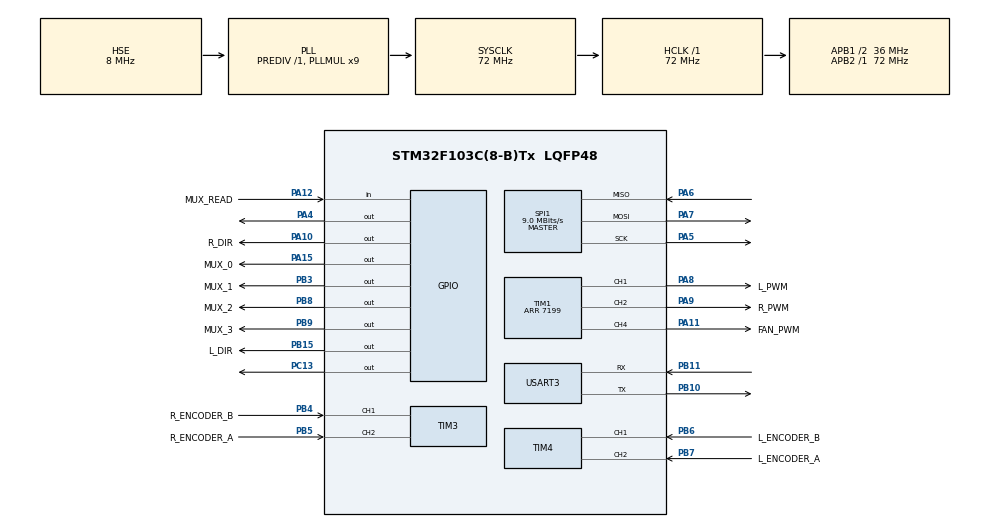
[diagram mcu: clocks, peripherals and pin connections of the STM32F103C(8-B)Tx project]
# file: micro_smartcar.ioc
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Dma.Request0=SPI1_RX
Dma.Request1=SPI1_TX
Dma.SPI1_RX.0.Direction=DMA_PERIPH_TO_MEMORY
Dma.SPI1_RX.0.Instance=DMA1_Channel2
Dma.SPI1_RX.0.MemDataAlignment=DMA_MDATAALIGN_BYTE
Dma.SPI1_RX.0.MemInc=DMA_MINC_ENABLE
Dma.SPI1_RX.0.Mode=DMA_NORMAL
Dma.SPI1_RX.0.PeriphDataAlignment=DMA_PDATAALIGN_BYTE
Dma.SPI1_RX.0.PeriphInc=DMA_PINC_DISABLE
Dma.SPI1_RX.0.Priority=DMA_PRIORITY_LOW
Dma.SPI1_TX.1.Direction=DMA_MEMORY_TO_PERIPH
Dma.SPI1_TX.1.Instance=DMA1_Channel3
Dma.SPI1_TX.1.MemDataAlignment=DMA_MDATAALIGN_BYTE
Dma.SPI1_TX.1.MemInc=DMA_MINC_ENABLE
Dma.SPI1_TX.1.Mode=DMA_NORMAL
Dma.SPI1_TX.1.PeriphDataAlignment=DMA_PDATAALIGN_BYTE
Dma.SPI1_TX.1.PeriphInc=DMA_PINC_DISABLE
Dma.SPI1_TX.1.Priority=DMA_PRIORITY_LOW
Mcu.Family=STM32F1
Mcu.Name=STM32F103C(8-B)Tx
Mcu.Package=LQFP48
NVIC.DMA1_Channel2_IRQn=true\:0\:0\:false\:false\:true\:false\:true\:true
NVIC.DMA1_Channel3_IRQn=true\:0\:0\:false\:false\:true\:false\:true\:true
NVIC.PriorityGroup=NVIC_PRIORITYGROUP_4
NVIC.RCC_IRQn=true\:0\:0\:false\:false\:true\:true\:false\:true
NVIC.SPI1_IRQn=true\:0\:0\:false\:false\:true\:true\:true\:true
NVIC.TIM2_IRQn=true\:1\:0\:true\:false\:true\:true\:true\:true
NVIC.TIM3_IRQn=true\:0\:0\:false\:false\:true\:true\:true\:true
NVIC.TIM4_IRQn=true\:0\:0\:false\:false\:true\:true\:true\:true
NVIC.USART3_IRQn=true\:0\:0\:false\:false\:true\:true\:true\:true
PA10.GPIO_Label=R_DIR
PA10.Signal=GPIO_Output
PA11.GPIO_Label=FAN_PWM
PA11.Signal=S_TIM1_CH4
PA12.GPIO_Label=MUX_READ
PA12.Signal=GPIO_Input
PA13.Mode=Serial_Wire
PA13.Signal=SYS_JTMS-SWDIO
PA14.Mode=Serial_Wire
PA14.Signal=SYS_JTCK-SWCLK
PA15.GPIO_Label=MUX_0
PA15.GPIO_Speed=GPIO_SPEED_FREQ_MEDIUM
PA15.Signal=GPIO_Output
PA4.GPIO_PuPd=GPIO_NOPULL
PA4.GPIO_Speed=GPIO_SPEED_FREQ_HIGH
PA4.Signal=GPIO_Output
PA5.Mode=Full_Duplex_Master
PA5.Signal=SPI1_SCK
PA6.Mode=Full_Duplex_Master
PA6.Signal=SPI1_MISO
PA7.Mode=Full_Duplex_Master
PA7.Signal=SPI1_MOSI
PA8.GPIO_Label=L_PWM
PA8.Signal=S_TIM1_CH1
PA9.GPIO_Label=R_PWM
PA9.Signal=S_TIM1_CH2
PB10.Mode=Asynchronous
PB10.Signal=USART3_TX
PB11.Mode=Asynchronous
PB11.Signal=USART3_RX
PB15.GPIO_Label=L_DIR
PB15.Signal=GPIO_Output
PB3.GPIO_Label=MUX_1
PB3.GPIO_Speed=GPIO_SPEED_FREQ_MEDIUM
PB3.Signal=GPIO_Output
PB4.GPIO_Label=R_ENCODER_B
PB4.Signal=S_TIM3_CH1
PB5.GPIO_Label=R_ENCODER_A
PB5.Signal=S_TIM3_CH2
PB6.GPIO_Label=L_ENCODER_B
PB6.Signal=S_TIM4_CH1
PB7.GPIO_Label=L_ENCODER_A
PB7.Signal=S_TIM4_CH2
PB8.GPIO_Label=MUX_2
PB8.GPIO_Speed=GPIO_SPEED_FREQ_MEDIUM
PB8.Signal=GPIO_Output
PB9.GPIO_Label=MUX_3
PB9.GPIO_Speed=GPIO_SPEED_FREQ_MEDIUM
PB9.Signal=GPIO_Output
PC13-TAMPER-RTC.GPIO_ModeDefaultOutputPP=GPIO_MODE_OUTPUT_OD
PC13-TAMPER-RTC.GPIO_PuPd=GPIO_NOPULL
PC13-TAMPER-RTC.Signal=GPIO_Output
PD0-OSC_IN.Mode=HSE-External-Oscillator
PD0-OSC_IN.Signal=RCC_OSC_IN
PD1-OSC_OUT.Mode=HSE-External-Oscillator
PD1-OSC_OUT.Signal=RCC_OSC_OUT
ProjectManager.HeapSize=0x200
ProjectManager.StackSize=0x400
ProjectManager.TargetToolchain=MDK-ARM V5.32
RCC.AHBFreq_Value=72000000
RCC.APB1CLKDivider=RCC_HCLK_DIV2
RCC.APB1Freq_Value=36000000
RCC.APB1TimFreq_Value=72000000
RCC.APB2Freq_Value=72000000
RCC.APB2TimFreq_Value=72000000
RCC.HCLKFreq_Value=72000000
RCC.PLLMUL=RCC_PLL_MUL9
RCC.PLLSourceVirtual=RCC_PLLSOURCE_HSE
RCC.SYSCLKFreq_VALUE=72000000
RCC.SYSCLKSource=RCC_SYSCLKSOURCE_PLLCLK
RCC.USBFreq_Value=72000000
SH.S_TIM1_CH1.0=TIM1_CH1,PWM Generation1 CH1
SH.S_TIM1_CH2.0=TIM1_CH2,PWM Generation2 CH2
SH.S_TIM1_CH4.0=TIM1_CH4,PWM Generation4 CH4
SH.S_TIM3_CH1.0=TIM3_CH1,Encoder_Interface
SH.S_TIM3_CH2.0=TIM3_CH2,Encoder_Interface
SH.S_TIM4_CH1.0=TIM4_CH1,Encoder_Interface
SH.S_TIM4_CH2.0=TIM4_CH2,Encoder_Interface
SPI1.BaudRatePrescaler=SPI_BAUDRATEPRESCALER_8
SPI1.CalculateBaudRate=9.0 MBits/s
SPI1.Direction=SPI_DIRECTION_2LINES
SPI1.Mode=SPI_MODE_MASTER
SPI1.VirtualType=VM_MASTER
TIM1.Channel-PWM\ Generation1\ CH1=TIM_CHANNEL_1
TIM1.Channel-PWM\ Generation2\ CH2=TIM_CHANNEL_2
TIM1.Channel-PWM\ Generation4\ CH4=TIM_CHANNEL_4
TIM1.Period=7199
TIM2.Period=999
TIM2.Prescaler=71
TIM3.EncoderMode=TIM_ENCODERMODE_TI12
TIM4.EncoderMode=TIM_ENCODERMODE_TI12
USART3.VirtualMode=VM_ASYNC
VP_TIM1_VS_ClockSourceINT.Mode=Internal
VP_TIM2_VS_ClockSourceINT.Mode=Internal
board=custom

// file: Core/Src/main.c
/* USER CODE END PTD */

/* USER CODE BEGIN PD */
#define MOTOR_PWM_MAX 1800  /* PWM最大值*/
#define TARGET_SPEED 1900    /* 基础目标速度*/

/* USER CODE END PD */

SPI_HandleTypeDef hspi1;
DMA_HandleTypeDef hdma_spi1_rx;
DMA_HandleTypeDef hdma_spi1_tx;

TIM_HandleTypeDef htim1;
TIM_HandleTypeDef htim2;
TIM_HandleTypeDef htim3;
TIM_HandleTypeDef htim4;

UART_HandleTypeDef huart3;

/* USER CODE BEGIN PV */
/* PID参数 */
float KP_turn = 90.0f;      /* 转向环比例系数*/
float KD_turn = -60.0f;       /* 转向环微分系数*/
float KP_speed = 30.0f;      /* 速度环比例系数  */
float KI_speed = 0.3f;     /* 速度环积分系数*/

/* 角速度环参数 */
float KP_gyro = 8.0f;       /* 角速度环比例系数*/
float KD_gyro = 0.08f;       /* 角速度环微分系数*/
float target_gyro_rate = 0.0f; /* 目标角速度*/
float last_gyro_error = 0.0f;  /* 上一次角速度误差*/

/* 全局变量 */
int32_t left_encoder = 0;  /* 左编码器值*/
int32_t right_encoder = 0; /* 右编码器值*/
int32_t last_left_encoder = 0;
int32_t last_right_encoder = 0;
float left_speed = 0;      /* 左电机实际速度*/
float right_speed = 0;     /* 右电机实际速度*/
float last_deviation = 0;  /* 上一次偏差*/
float left_integral = 0;   /* 左电机速度积分*/
float right_integral = 0;  /* 右电机速度积分*/
float left_pwm = 0;
float right_pwm = 0;

/* 新增变量 */
float last_left_speed = 0;     /* 左电机上一次速度（用于滤波）*/
float last_right_speed = 0;    /* 右电机上一次速度（用于滤波）*/
uint32_t last_speed_time = 0;  /* 上一次速度计算时间*/

/* 光电管权值定义 */
int phototube_weights[12] = {11, 9, 7, 5, 3, 1, -1, -3, -5, -7, -9, -11};

float gyro_x, gyro_y, gyro_z, accel_x, accel_y, accel_z; /*陀螺仪数据*/
float integrated_angle = 0.0f; /* 积分角度*/
float last_gyro_z = 0.0f;     /* 上一次陀螺仪Z轴数据*/
uint32_t last_gyro_time = 0;  /* 上一次陀螺仪采样时间*/

/* USER CODE END PV */

void SystemClock_Config(void);
static void MX_GPIO_Init(void);
static void MX_DMA_Init(void);
static void MX_SPI1_Init(void);
static void MX_TIM1_Init(void);
static void MX_TIM2_Init(void);
static void MX_TIM3_Init(void);
static void MX_USART3_UART_Init(void);
static void MX_TIM4_Init(void);
/* USER CODE BEGIN PFP */
float Calculate_Deviation(void);
void Motor_Control(float left_pwm, float right_pwm);
void PID_Control(void);
void Control_Init(void);
void Update_Gyro_Data(void);
float Gyro_Rate_Control(float target_rate, float current_rate); /* 新增角速度环控制函数*/
/* USER CODE END PFP */

/* USER CODE BEGIN 0 */
int fputc(int ch, FILE *f)
{
  HAL_UART_Transmit(&huart3, (uint8_t *)&ch, 1, 0xffff);
  return ch;
}

/* 更新陀螺仪数据并积分 */
void Update_Gyro_Data(void)
{
  dodo_BMI270_get_data(); /*获取陀螺仪数据*/

  /* 转换陀螺仪数据*/
  gyro_z = BMI270_gyro_transition(BMI270_gyro_z); /*角速度*/

  /* 角速度积分得到角度*/
  uint32_t current_time = HAL_GetTick();
  if(last_gyro_time > 0) {
      float dt = (current_time - last_gyro_time) / 1000.0f; /* 转换为秒*/
      integrated_angle += gyro_z * dt;

      /* 角度限制在180度范围内*/
      if(integrated_angle > 180.0f) integrated_angle = 180.0f;
      if(integrated_angle < -180.0f) integrated_angle = -180.0f;
  }
  last_gyro_time = current_time;
  last_gyro_z = gyro_z;
}

/* 预测偏差函数 - 基于历史数据 */
float Predict_Deviation(float history[], int size)
{
    float sum = 0;
    int valid_count = 0;
    int i;

    /* 计算有效历史数据的平均值*/
    for(i = 0; i < size; i++) {
        if(history[i] != 0) {
            sum += history[i];
            valid_count++;
        }
    }

    if(valid_count > 0) {
        return sum / valid_count;
    } else {
        return 0.0f;
    }
}

/* 计算偏差趋势函数 */
float Calculate_Deviation_Trend(float history[], int size)
{
    if(size < 2) return 0;

    float sum = 0;
    int count = 0;
    int i;

    /* 计算相邻点的变化趋势*/
    for(i = 1; i < size; i++) {
        if(history[i] != 0 && history[i-1] != 0) {
            sum += (history[i] - history[i-1]);
            count++;
        }
    }

    if(count > 0) {
        return sum / count;
    } else {
        return 0;
    }
}

/* 计算光电管偏差值 - 增强虚线处理逻辑 */
float Calculate_Deviation(void)
{
    uint16_t mux_value;
    MUX_get_value(&mux_value);

    float deviation = 0;
    int count = 0;
    int left_count = 0;
    int right_count = 0;
    int i;

    /* 检查所有光电管状态*/
    for(i = 0; i < 12; i++) {
        if(MUX_GET_CHANNEL(mux_value, i)) {
            deviation += phototube_weights[i];
            count++;

            /* 统计左右侧检测到的数量*/
            if(i < 6) left_count++;
            else right_count++;
        }
    }

    /* 根据不同情况处理偏差*/
    if(count > 0) {
        /* 正常情况：计算加权平均偏差*/
        deviation = deviation / count;

        /* 普通转弯情况：如果只有单侧检测到，适当增强偏差*/
        if(left_count > 0 && right_count == 0) {
            deviation -= 1.5f; /* 向左增强*/
        } else if(right_count > 0 && left_count == 0) {
            deviation += 1.5f; /* 向右增强*/
        }
    } else {
        /* 没有检测到线的处理策略 - 简单搜索*/
        if(last_deviation > 3.0f) {
            /* 上次偏右，继续向右寻找*/
            deviation = 8.0f;
        } else if(last_deviation < -3.0f) {
            /* 上次偏左，继续向左寻找*/
            deviation = -8.0f;
        } else {
            /* 默认向右转寻找*/
            deviation = -8.0f;
        }
    }

    /* 限制偏差范围*/
    if(deviation > 11.0f) deviation = 11.0f;
    if(deviation < -11.0f) deviation = -11.0f;

    /* 调试输出*/
    static uint32_t debug_count = 0;
    if(debug_count % 50 == 0) {
        printf("Line: L:%d R:%d | Dev:%.1f\n",
               left_count, right_count, deviation);
    }
    debug_count++;

    return deviation;
}

/* 角速度环控制函数 */
float Gyro_Rate_Control(float target_rate, float current_rate)
{
    float error = target_rate - current_rate;
    float derivative = error - last_gyro_error;
    last_gyro_error = error;

    /* PD控制*/
    float output = KP_gyro * error + KD_gyro * derivative;

    return output;
}

/* 电机控制函数 */
void Motor_Control(float left_pwm, float right_pwm)
{
    /* 限制PWM范围*/
    if(left_pwm > MOTOR_PWM_MAX) left_pwm = MOTOR_PWM_MAX;
    if(left_pwm < -MOTOR_PWM_MAX) left_pwm = -MOTOR_PWM_MAX;
    if(right_pwm > MOTOR_PWM_MAX) right_pwm = MOTOR_PWM_MAX;
    if(right_pwm < -MOTOR_PWM_MAX) right_pwm = -MOTOR_PWM_MAX;

    /* 设置电机方向和PWM*/
    if(left_pwm >= 0) {
        HAL_GPIO_WritePin(L_DIR_GPIO_Port, L_DIR_Pin, GPIO_PIN_RESET); /* 正转*/
        __HAL_TIM_SET_COMPARE(&htim1, TIM_CHANNEL_1, (uint32_t)left_pwm);
    } else {
        HAL_GPIO_WritePin(L_DIR_GPIO_Port, L_DIR_Pin, GPIO_PIN_SET); /* 反转*/
        __HAL_TIM_SET_COMPARE(&htim1, TIM_CHANNEL_1, (uint32_t)(-left_pwm));
    }

    if(right_pwm >= 0) {
        HAL_GPIO_WritePin(R_DIR_GPIO_Port, R_DIR_Pin, GPIO_PIN_SET); /* 正转*/
        __HAL_TIM_SET_COMPARE(&htim1, TIM_CHANNEL_2, (uint32_t)right_pwm);
    } else {
        HAL_GPIO_WritePin(R_DIR_GPIO_Port, R_DIR_Pin, GPIO_PIN_RESET); /* 反转*/
        __HAL_TIM_SET_COMPARE(&htim1, TIM_CHANNEL_2, (uint32_t)(-right_pwm));
    }
}

/* 主PID控制函数 - 简化版：只有速度环和转向环 */
void PID_Control(void)
{
    float current_target_speed = 500.0f; /* 暂时使用固定值，实际应从Calculate_Deviation获取*/

    Update_Gyro_Data();

    /* 1. 读取编码器值计算实际速度*/
    left_encoder = __HAL_TIM_GET_COUNTER(&htim4);
    right_encoder = __HAL_TIM_GET_COUNTER(&htim3);

    /* 更新编码器记录*/
    last_left_encoder = left_encoder;
    last_right_encoder = right_encoder;

    /* 2. 转向环PD控制*/
    float current_deviation = Calculate_Deviation();
    float turn_output = KP_turn * current_deviation +
                       KD_turn * (current_deviation - last_deviation);
    last_deviation = current_deviation;

    /* 3. 角速度环控制 - 将转向环输出作为目标角速度*/
    target_gyro_rate = turn_output;
    float gyro_output = Gyro_Rate_Control(target_gyro_rate, gyro_z);

    /* 4. 计算左右电机目标速度（转向环输出直接叠加到目标速度）*/
    float left_target = current_target_speed - gyro_output;
    float right_target = current_target_speed + gyro_output;

    /* 5. 速度环PI控制*/
    float left_error = left_target - left_speed;
    float right_error = right_target - right_speed;

    /* 积分项*/
    left_integral += left_error;
    right_integral += right_error;

    /* 积分限幅*/
    if(left_integral > 1000)   left_integral = 1000;
    if(left_integral < -1000)  left_integral = -1000;
    if(right_integral > 1000)  right_integral = 1000;
    if(right_integral < -1000) right_integral = -1000;

    /* 计算最终PWM输出*/
    left_pwm = KP_speed * left_error + KI_speed * left_integral;
    right_pwm = KP_speed * right_error + KI_speed * right_integral;

    /* 电机输出*/
    Motor_Control(left_pwm, right_pwm);
}

/* 初始化函数 */
void Control_Init(void)
{
    /* 启动PWM*/
    HAL_TIM_PWM_Start(&htim1, TIM_CHANNEL_1);
    HAL_TIM_PWM_Start(&htim1, TIM_CHANNEL_2);

    /* 启动编码器模式*/
    HAL_TIM_Encoder_Start(&htim3, TIM_CHANNEL_ALL);
    HAL_TIM_Encoder_Start(&htim4, TIM_CHANNEL_ALL);

    /* 启动定时器中断（控制周期，比如1kHz）*/
    HAL_TIM_Base_Start_IT(&htim2);

    /* 初始化变量*/
    last_left_encoder = __HAL_TIM_GET_COUNTER(&htim4);
    last_right_encoder = __HAL_TIM_GET_COUNTER(&htim3);
    last_gyro_time = HAL_GetTick();
    last_speed_time = HAL_GetTick(); /* 新增速度时间初始化*/

    /* 初始读取一次光电管值，避免last_deviation为0*/
    last_deviation = Calculate_Deviation();
}

/* USER CODE END 0 */

int main(void)
{

  /* MCU Configuration--------------------------------------------------------*/

  /* Reset of all peripherals, Initializes the Flash interface and the Systick. */
  HAL_Init();

  /* Configure the system clock */
  SystemClock_Config();

  /* Initialize all configured peripherals */
  MX_GPIO_Init();
  MX_DMA_Init();
  MX_SPI1_Init();
  MX_TIM1_Init();
  MX_TIM2_Init();
  MX_TIM3_Init();
  MX_USART3_UART_Init();
  MX_TIM4_Init();
  /* USER CODE BEGIN 2 */
    dodo_BMI270_init(); /*初始化陀螺仪*/
  Control_Init(); /* 初始化控制系统*/

  printf("Car Racing System Started!\r\n");
  /* USER CODE END 2 */

  /* Infinite loop */
  /* USER CODE BEGIN WHILE */
  while (1)
  {
        int i;
        /* 调试输出：可以定期输出传感器数据用于调试*/
        static uint32_t last_debug_time = 0;
        if(HAL_GetTick() - last_debug_time > 500) { /* 每500ms输出一次*/
            printf("GyroZ: %.2f deg/s, Angle: %.2f deg, PhotoDev: %.2f\r\n",
                   gyro_z, integrated_angle, last_deviation);
            last_debug_time = HAL_GetTick();
        }

        uint16_t mux_value;
        MUX_get_value(&mux_value);
        for(i = 0; i <= 11; i++){
            printf("%d,", MUX_GET_CHANNEL(mux_value, i)); /*获取第i个光电管的数值并输出*/
        }
        printf("\n");
   /* USER CODE END WHILE */
  }
}

void HAL_TIM_PeriodElapsedCallback(TIM_HandleTypeDef *htim)
{
    if(htim->Instance == TIM2) { /* 使用TIM2作为控制周期*/
        PID_Control();
    }
}

void SystemClock_Config(void)
{
  RCC_OscInitTypeDef RCC_OscInitStruct = {0};
  RCC_ClkInitTypeDef RCC_ClkInitStruct = {0};

  /** Initializes the RCC Oscillators according to the specified parameters
  * in the RCC_OscInitTypeDef structure.
  */
  RCC_OscInitStruct.OscillatorType = RCC_OSCILLATORTYPE_HSE;
  RCC_OscInitStruct.HSEState = RCC_HSE_ON;
  RCC_OscInitStruct.HSEPredivValue = RCC_HSE_PREDIV_DIV1;
  RCC_OscInitStruct.HSIState = RCC_HSI_ON;
  RCC_OscInitStruct.PLL.PLLState = RCC_PLL_ON;
  RCC_OscInitStruct.PLL.PLLSource = RCC_PLLSOURCE_HSE;
  RCC_OscInitStruct.PLL.PLLMUL = RCC_PLL_MUL9;
  if (HAL_RCC_OscConfig(&RCC_OscInitStruct) != HAL_OK)
  {
    Error_Handler();
  }

  /** Initializes the CPU, AHB and APB buses clocks
  */
  RCC_ClkInitStruct.ClockType = RCC_CLOCKTYPE_HCLK|RCC_CLOCKTYPE_SYSCLK
                              |RCC_CLOCKTYPE_PCLK1|RCC_CLOCKTYPE_PCLK2;
  RCC_ClkInitStruct.SYSCLKSource = RCC_SYSCLKSOURCE_PLLCLK;
  RCC_ClkInitStruct.AHBCLKDivider = RCC_SYSCLK_DIV1;
  RCC_ClkInitStruct.APB1CLKDivider = RCC_HCLK_DIV2;
  RCC_ClkInitStruct.APB2CLKDivider = RCC_HCLK_DIV1;

  if (HAL_RCC_ClockConfig(&RCC_ClkInitStruct, FLASH_LATENCY_2) != HAL_OK)
  {
    Error_Handler();
  }
}

static void MX_SPI1_Init(void)
{

  /* SPI1 parameter configuration*/
  hspi1.Instance = SPI1;
  hspi1.Init.Mode = SPI_MODE_MASTER;
  hspi1.Init.Direction = SPI_DIRECTION_2LINES;
  hspi1.Init.DataSize = SPI_DATASIZE_8BIT;
  hspi1.Init.CLKPolarity = SPI_POLARITY_LOW;
  hspi1.Init.CLKPolarity = SPI_POLARITY_LOW;
  hspi1.Init.CLKPhase = SPI_PHASE_1EDGE;
  hspi1.Init.NSS = SPI_NSS_SOFT;
  hspi1.Init.BaudRatePrescaler = SPI_BAUDRATEPRESCALER_8;
  hspi1.Init.FirstBit = SPI_FIRSTBIT_MSB;
  hspi1.Init.TIMode = SPI_TIMODE_DISABLE;
  hspi1.Init.CRCCalculation = SPI_CRCCALCULATION_DISABLE;
  hspi1.Init.CRCPolynomial = 10;
  if (HAL_SPI_Init(&hspi1) != HAL_OK)
  {
    Error_Handler();
  }

}

static void MX_TIM1_Init(void)
{

  TIM_ClockConfigTypeDef sClockSourceConfig = {0};
  TIM_MasterConfigTypeDef sMasterConfig = {0};
  TIM_OC_InitTypeDef sConfigOC = {0};
  TIM_BreakDeadTimeConfigTypeDef sBreakDeadTimeConfig = {0};

  htim1.Instance = TIM1;
  htim1.Init.Prescaler = 0;
  htim1.Init.CounterMode = TIM_COUNTERMODE_UP;
  htim1.Init.Period = 7199;
  htim1.Init.ClockDivision = TIM_CLOCKDIVISION_DIV1;
  htim1.Init.RepetitionCounter = 0;
  htim1.Init.AutoReloadPreload = TIM_AUTORELOAD_PRELOAD_DISABLE;
  if (HAL_TIM_Base_Init(&htim1) != HAL_OK)
  {
    Error_Handler();
  }
  sClockSourceConfig.ClockSource = TIM_CLOCKSOURCE_INTERNAL;
  if (HAL_TIM_ConfigClockSource(&htim1, &sClockSourceConfig) != HAL_OK)
  {
    Error_Handler();
  }
  if (HAL_TIM_PWM_Init(&htim1) != HAL_OK)
  {
    Error_Handler();
  }
  sMasterConfig.MasterOutputTrigger = TIM_TRGO_RESET;
  sMasterConfig.MasterSlaveMode = TIM_MASTERSLAVEMODE_DISABLE;
  if (HAL_TIMEx_MasterConfigSynchronization(&htim1, &sMasterConfig) != HAL_OK)
  {
    Error_Handler();
  }
  sConfigOC.OCMode = TIM_OCMODE_PWM1;
  sConfigOC.Pulse = 0;
  sConfigOC.OCPolarity = TIM_OCPOLARITY_HIGH;
  sConfigOC.OCNPolarity = TIM_OCNPOLARITY_HIGH;
  sConfigOC.OCFastMode = TIM_OCFAST_DISABLE;
  sConfigOC.OCIdleState = TIM_OCIDLESTATE_RESET;
  sConfigOC.OCNIdleState = TIM_OCNIDLESTATE_RESET;
  if (HAL_TIM_PWM_ConfigChannel(&htim1, &sConfigOC, TIM_CHANNEL_1) != HAL_OK)
  {
    Error_Handler();
  }
  if (HAL_TIM_PWM_ConfigChannel(&htim1, &sConfigOC, TIM_CHANNEL_2) != HAL_OK)
  {
    Error_Handler();
  }
  if (HAL_TIM_PWM_ConfigChannel(&htim1, &sConfigOC, TIM_CHANNEL_4) != HAL_OK)
  {
    Error_Handler();
  }
  sBreakDeadTimeConfig.OffStateRunMode = TIM_OSSR_DISABLE;
  sBreakDeadTimeConfig.OffStateIDLEMode = TIM_OSSI_DISABLE;
  sBreakDeadTimeConfig.LockLevel = TIM_LOCKLEVEL_OFF;
  sBreakDeadTimeConfig.DeadTime = 0;
  sBreakDeadTimeConfig.BreakState = TIM_BREAK_DISABLE;
  sBreakDeadTimeConfig.BreakPolarity = TIM_BREAKPOLARITY_HIGH;
  sBreakDeadTimeConfig.AutomaticOutput = TIM_AUTOMATICOUTPUT_DISABLE;
  if (HAL_TIMEx_ConfigBreakDeadTime(&htim1, &sBreakDeadTimeConfig) != HAL_OK)
  {
    Error_Handler();
  }
  HAL_TIM_MspPostInit(&htim1);

}

static void MX_TIM2_Init(void)
{

  TIM_ClockConfigTypeDef sClockSourceConfig = {0};
  TIM_MasterConfigTypeDef sMasterConfig = {0};

  htim2.Instance = TIM2;
  htim2.Init.Prescaler = 71;
  htim2.Init.CounterMode = TIM_COUNTERMODE_UP;
  htim2.Init.Period = 999;
  htim2.Init.ClockDivision = TIM_CLOCKDIVISION_DIV1;
  htim2.Init.AutoReloadPreload = TIM_AUTORELOAD_PRELOAD_DISABLE;
  if (HAL_TIM_Base_Init(&htim2) != HAL_OK)
  {
    Error_Handler();
  }
  sClockSourceConfig.ClockSource = TIM_CLOCKSOURCE_INTERNAL;
  if (HAL_TIM_ConfigClockSource(&htim2, &sClockSourceConfig) != HAL_OK)
  {
    Error_Handler();
  }
  sMasterConfig.MasterOutputTrigger = TIM_TRGO_RESET;
  sMasterConfig.MasterSlaveMode = TIM_MASTERSLAVEMODE_DISABLE;
  if (HAL_TIMEx_MasterConfigSynchronization(&htim2, &sMasterConfig) != HAL_OK)
  {
    Error_Handler();
  }

}

static void MX_TIM3_Init(void)
{

  TIM_Encoder_InitTypeDef sConfig = {0};
  TIM_MasterConfigTypeDef sMasterConfig = {0};

  htim3.Instance = TIM3;
  htim3.Init.Prescaler = 0;
  htim3.Init.CounterMode = TIM_COUNTERMODE_UP;
  htim3.Init.Period = 65535;
  htim3.Init.ClockDivision = TIM_CLOCKDIVISION_DIV1;
  htim3.Init.AutoReloadPreload = TIM_AUTORELOAD_PRELOAD_DISABLE;
  sConfig.EncoderMode = TIM_ENCODERMODE_TI12;
  sConfig.IC1Polarity = TIM_ICPOLARITY_RISING;
  sConfig.IC1Selection = TIM_ICSELECTION_DIRECTTI;
  sConfig.IC1Prescaler = TIM_ICPSC_DIV1;
  sConfig.IC1Filter = 0;
  sConfig.IC2Polarity = TIM_ICPOLARITY_RISING;
  sConfig.IC2Selection = TIM_ICSELECTION_DIRECTTI;
  sConfig.IC2Prescaler = TIM_ICPSC_DIV1;
  sConfig.IC2Filter = 0;
  if (HAL_TIM_Encoder_Init(&htim3, &sConfig) != HAL_OK)
  {
    Error_Handler();
  }
  sMasterConfig.MasterOutputTrigger = TIM_TRGO_RESET;
  sMasterConfig.MasterSlaveMode = TIM_MASTERSLAVEMODE_DISABLE;
  if (HAL_TIMEx_MasterConfigSynchronization(&htim3, &sMasterConfig) != HAL_OK)
  {
    Error_Handler();
  }

}

static void MX_TIM4_Init(void)
{

  TIM_Encoder_InitTypeDef sConfig = {0};
  TIM_MasterConfigTypeDef sMasterConfig = {0};

  htim4.Instance = TIM4;
  htim4.Init.Prescaler = 0;
  htim4.Init.CounterMode = TIM_COUNTERMODE_UP;
  htim4.Init.Period = 65535;
  htim4.Init.ClockDivision = TIM_CLOCKDIVISION_DIV1;
  htim4.Init.AutoReloadPreload = TIM_AUTORELOAD_PRELOAD_DISABLE;
  sConfig.EncoderMode = TIM_ENCODERMODE_TI12;
  sConfig.IC1Polarity = TIM_ICPOLARITY_RISING;
  sConfig.IC1Selection = TIM_ICSELECTION_DIRECTTI;
  sConfig.IC1Prescaler = TIM_ICPSC_DIV1;
  sConfig.IC1Filter = 0;
  sConfig.IC2Polarity = TIM_ICPOLARITY_RISING;
  sConfig.IC2Selection = TIM_ICSELECTION_DIRECTTI;
  sConfig.IC2Prescaler = TIM_ICPSC_DIV1;
  sConfig.IC2Filter = 0;
  if (HAL_TIM_Encoder_Init(&htim4, &sConfig) != HAL_OK)
  {
    Error_Handler();
  }
  sMasterConfig.MasterOutputTrigger = TIM_TRGO_RESET;
  sMasterConfig.MasterSlaveMode = TIM_MASTERSLAVEMODE_DISABLE;
  if (HAL_TIMEx_MasterConfigSynchronization(&htim4, &sMasterConfig) != HAL_OK)
  {
    Error_Handler();
  }

}

static void MX_USART3_UART_Init(void)
{

  huart3.Instance = USART3;
  huart3.Init.BaudRate = 115200;
  huart3.Init.WordLength = UART_WORDLENGTH_8B;
  huart3.Init.StopBits = UART_STOPBITS_1;
  huart3.Init.Parity = UART_PARITY_NONE;
  huart3.Init.Mode = UART_MODE_TX_RX;
  huart3.Init.HwFlowCtl = UART_HWCONTROL_NONE;
  huart3.Init.OverSampling = UART_OVERSAMPLING_16;
  if (HAL_UART_Init(&huart3) != HAL_OK)
  {
    Error_Handler();
  }

}

static void MX_DMA_Init(void)
{

  /* DMA controller clock enable */
  __HAL_RCC_DMA1_CLK_ENABLE();

  /* DMA interrupt init */
  /* DMA1_Channel2_IRQn interrupt configuration */
  HAL_NVIC_SetPriority(DMA1_Channel2_IRQn, 0, 0);
  HAL_NVIC_EnableIRQ(DMA1_Channel2_IRQn);
  /* DMA1_Channel3_IRQn interrupt configuration */
  HAL_NVIC_SetPriority(DMA1_Channel3_IRQn, 0, 0);
  HAL_NVIC_EnableIRQ(DMA1_Channel3_IRQn);

}

static void MX_GPIO_Init(void)
{
  GPIO_InitTypeDef GPIO_InitStruct = {0};

  /* GPIO Ports Clock Enable */
  __HAL_RCC_GPIOC_CLK_ENABLE();
  __HAL_RCC_GPIOD_CLK_ENABLE();
  __HAL_RCC_GPIOA_CLK_ENABLE();
  __HAL_RCC_GPIOB_CLK_ENABLE();

  /*Configure GPIO pin Output Level */
  HAL_GPIO_WritePin(GPIOC, GPIO_PIN_13, GPIO_PIN_RESET);

  /*Configure GPIO pin Output Level */
  HAL_GPIO_WritePin(GPIOA, GPIO_PIN_4|R_DIR_Pin|MUX_0_Pin, GPIO_PIN_RESET);

  /*Configure GPIO pin Output Level */
  HAL_GPIO_WritePin(GPIOB, L_DIR_Pin|MUX_1_Pin|MUX_2_Pin|MUX_3_Pin, GPIO_PIN_RESET);

  /*Configure GPIO pin : PC13 */
  GPIO_InitStruct.Pin = GPIO_PIN_13;
  GPIO_InitStruct.Mode = GPIO_MODE_OUTPUT_OD;
  GPIO_InitStruct.Pull = GPIO_NOPULL;
  GPIO_InitStruct.Speed = GPIO_SPEED_FREQ_LOW;
  HAL_GPIO_Init(GPIOC, &GPIO_InitStruct);

  /*Configure GPIO pin : PA4 */
  GPIO_InitStruct.Pin = GPIO_PIN_4;
  GPIO_InitStruct.Mode = GPIO_MODE_OUTPUT_PP;
  GPIO_InitStruct.Pull = GPIO_NOPULL;
  GPIO_InitStruct.Speed = GPIO_SPEED_FREQ_HIGH;
  HAL_GPIO_Init(GPIOA, &GPIO_InitStruct);

  /*Configure GPIO pin : L_DIR_Pin */
  GPIO_InitStruct.Pin = L_DIR_Pin;
  GPIO_InitStruct.Mode = GPIO_MODE_OUTPUT_PP;
  GPIO_InitStruct.Pull = GPIO_NOPULL;
  GPIO_InitStruct.Speed = GPIO_SPEED_FREQ_LOW;
  HAL_GPIO_Init(L_DIR_GPIO_Port, &GPIO_InitStruct);

  /*Configure GPIO pin : R_DIR_Pin */
  GPIO_InitStruct.Pin = R_DIR_Pin;
  GPIO_InitStruct.Mode = GPIO_MODE_OUTPUT_PP;
  GPIO_InitStruct.Pull = GPIO_NOPULL;
  GPIO_InitStruct.Speed = GPIO_SPEED_FREQ_LOW;
  HAL_GPIO_Init(R_DIR_GPIO_Port, &GPIO_InitStruct);

  /*Configure GPIO pin : MUX_READ_Pin */
  GPIO_InitStruct.Pin = MUX_READ_Pin;
  GPIO_InitStruct.Mode = GPIO_MODE_INPUT;
  GPIO_InitStruct.Pull = GPIO_NOPULL;
  HAL_GPIO_Init(MUX_READ_GPIO_Port, &GPIO_InitStruct);

  /*Configure GPIO pin : MUX_0_Pin */
  GPIO_InitStruct.Pin = MUX_0_Pin;
  GPIO_InitStruct.Mode = GPIO_MODE_OUTPUT_PP;
  GPIO_InitStruct.Pull = GPIO_NOPULL;
  GPIO_InitStruct.Speed = GPIO_SPEED_FREQ_MEDIUM;
  HAL_GPIO_Init(MUX_0_GPIO_Port, &GPIO_InitStruct);

  /*Configure GPIO pins : MUX_1_Pin MUX_2_Pin MUX_3_Pin */
  GPIO_InitStruct.Pin = MUX_1_Pin|MUX_2_Pin|MUX_3_Pin;
  GPIO_InitStruct.Mode = GPIO_MODE_OUTPUT_PP;
  GPIO_InitStruct.Pull = GPIO_NOPULL;
  GPIO_InitStruct.Speed = GPIO_SPEED_FREQ_MEDIUM;
  HAL_GPIO_Init(GPIOB, &GPIO_InitStruct);

}

void Error_Handler(void)
{
  __disable_irq();
  while (1)
  {
  }
}
